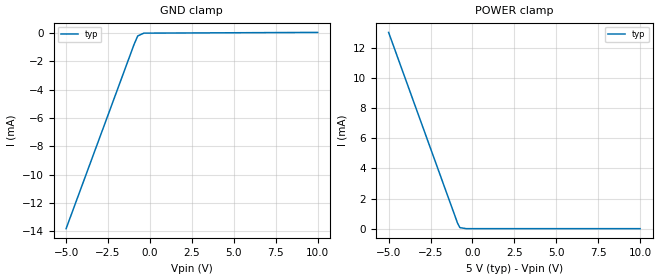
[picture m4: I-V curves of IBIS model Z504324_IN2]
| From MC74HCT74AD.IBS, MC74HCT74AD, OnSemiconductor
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| (C) COPYRIGHT 1993-2000
| MENTOR GRAPHICS CORPORATION
| ICX STANDARD LIBRARY, ICX PROJECT MODELING,
| ICX CUSTOM MODELING, ICX VENDOR MODEL
| ALL RIGHTS RESERVED.
| THE FOLLOWING ARE TRADEMARKS OR SERVICE MARKS OF
| MENTOR GRAPHICS CORPORATION:ICX (R), ICX STANDARD
| LIBRARY(R), ICX PROJECT MODELING(R), ICX CUSTOM
| MODELING(R), qualityIBIS(TM), MODELVIEWER(TM),
| AND MODELEDITOR(TM)
| ALL COPIES OF SOFTWARE, INCLUDING BUT NOT LIMITED TO
| ANY MODIFICATIONS, ENHANCEMENTS OR DERIVATIVE WORKS,
| MUST CONTAIN ALL MENTOR GRAPHICS CORPORATION'S
| NOTICES AND LEGENDS, INCLUDING THOSE EMBEDDED IN
| SOFTWARE AND THOSE AFFIXED TO SOFTWARE MEDIUM
| AND CONTAINER, AS RECEIVED FROM MENTOR GRAPHICS
| CORPORATION.
| Model Application Version 1.89 2/18/99.
[Model] Z504324_IN2
Model_type Input
Vinl = 800.0mV
Vinh = 2.000V
C_comp 4.000pF NA NA
| variable typ   min   max
[Voltage Range] 5.000V NA NA
[GND Clamp Reference] 0.000V NA NA
[POWER Clamp Reference] 5.000V NA NA
[GND Clamp]
-5V       -13.82mA   NA         NA
-942mV    -804.3uA   NA         NA
-729.1mV  -219.1uA   NA         NA
-364.5mV  -21.68uA   NA         NA
10V       30.58uA    NA         NA
[POWER Clamp]
-5V       13.03mA    NA         NA
-888mV    365.4uA    NA         NA
-749mV    70.14uA    NA         NA
-374.5mV  0A         NA         NA
10V       0A         NA         NA
